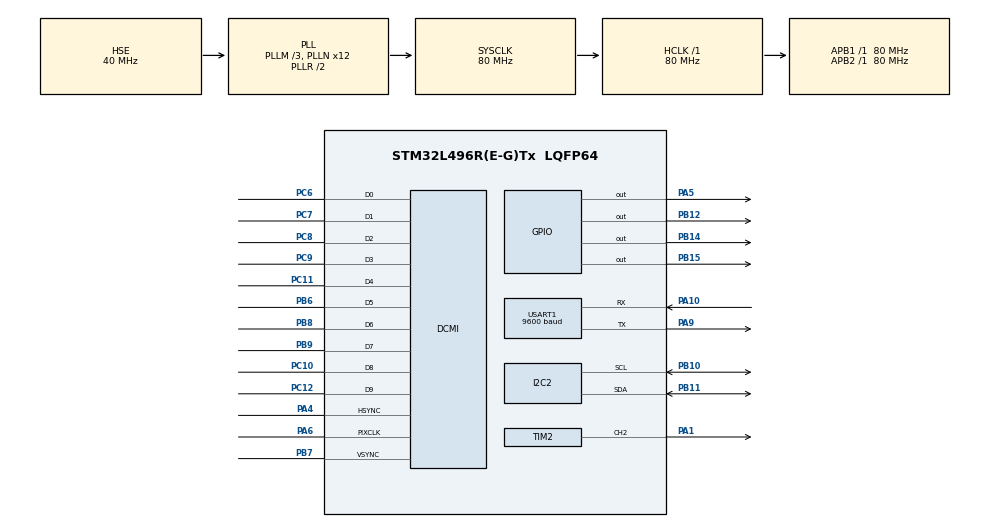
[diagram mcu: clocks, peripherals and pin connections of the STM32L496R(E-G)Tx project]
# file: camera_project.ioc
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DCMI.JPEGMode=DCMI_JPEG_ENABLE
I2C2.Timeout=0x000083D0
I2C2.Timing=0x10909CEC
Mcu.Family=STM32L4
Mcu.Name=STM32L496R(E-G)Tx
Mcu.Package=LQFP64
NVIC.PriorityGroup=NVIC_PRIORITYGROUP_4
NVIC.USART1_IRQn=true\:0\:0\:false\:false\:true\:true\:true
PA0.Mode=SYS_WakeUp0
PA0.Signal=SYS_WKUP1
PA1.Signal=S_TIM2_CH2
PA10.Mode=Asynchronous
PA10.Signal=USART1_RX
PA13\ (JTMS/SWDIO).Mode=Serial_Wire
PA13\ (JTMS/SWDIO).Signal=SYS_JTMS-SWDIO
PA14\ (JTCK/SWCLK).Mode=Serial_Wire
PA14\ (JTCK/SWCLK).Signal=SYS_JTCK-SWCLK
PA4.Mode=Slave_10_bits_External_Synchro
PA4.Signal=DCMI_HSYNC
PA5.GPIO_ModeDefaultOutputPP=GPIO_MODE_OUTPUT_OD
PA5.Signal=GPIO_Output
PA6.Mode=Slave_10_bits_External_Synchro
PA6.Signal=DCMI_PIXCLK
PA9.Mode=Asynchronous
PA9.Signal=USART1_TX
PB10.Mode=SMBus-two-wire-Interface
PB10.Signal=I2C2_SCL
PB11.Mode=SMBus-two-wire-Interface
PB11.Signal=I2C2_SDA
PB12.Signal=GPIO_Output
PB14.Signal=GPIO_Output
PB15.Signal=GPIO_Output
PB6.Mode=Slave_10_bits_External_Synchro
PB6.Signal=DCMI_D5
PB7.Mode=Slave_10_bits_External_Synchro
PB7.Signal=DCMI_VSYNC
PB8.Mode=Slave_10_bits_External_Synchro
PB8.Signal=DCMI_D6
PB9.Mode=Slave_10_bits_External_Synchro
PB9.Signal=DCMI_D7
PC10.Mode=Slave_10_bits_External_Synchro
PC10.Signal=DCMI_D8
PC11.Mode=Slave_10_bits_External_Synchro
PC11.Signal=DCMI_D4
PC12.Mode=Slave_10_bits_External_Synchro
PC12.Signal=DCMI_D9
PC6.Mode=Slave_10_bits_External_Synchro
PC6.Signal=DCMI_D0
PC7.Mode=Slave_10_bits_External_Synchro
PC7.Signal=DCMI_D1
PC8.Mode=Slave_10_bits_External_Synchro
PC8.Signal=DCMI_D2
PC9.Mode=Slave_10_bits_External_Synchro
PC9.Signal=DCMI_D3
PH0-OSC_IN\ (PH0).Mode=HSE-External-Oscillator
PH0-OSC_IN\ (PH0).Signal=RCC_OSC_IN
PH1-OSC_OUT\ (PH1).Mode=HSE-External-Oscillator
PH1-OSC_OUT\ (PH1).Signal=RCC_OSC_OUT
ProjectManager.HeapSize=0x200
ProjectManager.StackSize=0x400
ProjectManager.TargetToolchain=STM32CubeIDE
RCC.ADCFreq_Value=53333333.333333336
RCC.AHBFreq_Value=80000000
RCC.APB1Freq_Value=80000000
RCC.APB1TimFreq_Value=80000000
RCC.APB2Freq_Value=80000000
RCC.APB2TimFreq_Value=80000000
RCC.CortexFreq_Value=80000000
RCC.HCLKFreq_Value=80000000
RCC.HSE_VALUE=40000000
RCC.HSI48_VALUE=48000000
RCC.HSI_VALUE=16000000
RCC.I2C2CLockSelection=RCC_I2C2CLKSOURCE_SYSCLK
RCC.LSE_VALUE=32768
RCC.MSI_VALUE=4000000
RCC.PLLM=3
RCC.PLLN=12
RCC.PLLSourceVirtual=RCC_PLLSOURCE_HSE
RCC.SYSCLKFreq_VALUE=80000000
RCC.SYSCLKSource=RCC_SYSCLKSOURCE_PLLCLK
RCC.USART1CLockSelection=RCC_USART1CLKSOURCE_SYSCLK
RCC.USBFreq_Value=53333333.333333336
RCC.VCOOutputFreq_Value=160000000
SH.S_TIM2_CH2.0=TIM2_CH2,PWM Generation2 CH2
TIM2.Channel-PWM\ Generation2\ CH2=TIM_CHANNEL_2
USART1.BaudRate=9600
USART1.VirtualMode-Asynchronous=VM_ASYNC
VP_TIM2_VS_ClockSourceINT.Mode=Internal
board=custom

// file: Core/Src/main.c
/* USER CODE BEGIN Header */
/**
  ******************************************************************************
  * @file           : main.c
  * @brief          : Main program body
  ******************************************************************************
  * @attention
  *
  * <h2><center>&copy; Copyright (c) 2021 STMicroelectronics.
  * All rights reserved.</center></h2>
  *
  * This software component is licensed by ST under BSD 3-Clause license,
  * the "License"; You may not use this file except in compliance with the
  * License. You may obtain a copy of the License at:
  *                        opensource.org/licenses/BSD-3-Clause
  *
  ******************************************************************************
  */
/* USER CODE END Header */
#include "main.h"

/* USER CODE BEGIN Includes */

#include "SEGGER_RTT.h"

/* USER CODE END Includes */

DCMI_HandleTypeDef hdcmi;

SMBUS_HandleTypeDef hsmbus2;

TIM_HandleTypeDef htim2;

UART_HandleTypeDef huart1;

void SystemClock_Config(void);
static void MX_GPIO_Init(void);
static void MX_DCMI_Init(void);
static void MX_I2C2_SMBUS_Init(void);
static void MX_TIM2_Init(void);
static void MX_USART1_UART_Init(void);

/* USER CODE BEGIN 0 */
uint8_t rx_buffer[16];
void HAL_UART_RxCpltCallback(UART_HandleTypeDef *huart)
{
	HAL_UART_Receive_IT(&huart1, rx_buffer, 16);
	SEGGER_RTT_printf(0, "Data received: %s\r\n", rx_buffer);
}

/* USER CODE END 0 */

int main(void)
{
  /* USER CODE BEGIN 1 */

	  SEGGER_RTT_ConfigUpBuffer(0, NULL, NULL, 0, SEGGER_RTT_MODE_BLOCK_IF_FIFO_FULL);

	  SEGGER_RTT_WriteString(0, "Test write console\n");

  /* USER CODE END 1 */

  /* MCU Configuration--------------------------------------------------------*/

  /* Reset of all peripherals, Initializes the Flash interface and the Systick. */
  HAL_Init();

  /* Configure the system clock */
  SystemClock_Config();

  /* Initialize all configured peripherals */
  MX_GPIO_Init();
  MX_DCMI_Init();
  MX_I2C2_SMBUS_Init();
  MX_TIM2_Init();
  MX_USART1_UART_Init();
  /* USER CODE BEGIN 2 */
  HAL_GPIO_WritePin(GPIOA, GPIO_PIN_5, GPIO_PIN_RESET);
  HAL_GPIO_WritePin(GPIOB, GPIO_PIN_12, GPIO_PIN_SET);
  HAL_GPIO_WritePin(GPIOB, GPIO_PIN_14, GPIO_PIN_SET);
  HAL_GPIO_WritePin(GPIOB, GPIO_PIN_15, GPIO_PIN_SET);

  HAL_UART_Receive_IT(&huart1, rx_buffer, 16);

  HAL_GPIO_WritePin(GPIOA, GPIO_PIN_5, GPIO_PIN_SET);
  HAL_Delay(1000);
  HAL_GPIO_WritePin(GPIOA, GPIO_PIN_5, GPIO_PIN_RESET);
  /* USER CODE END 2 */

  /* Infinite loop */
  while (1)
  {

    /* USER CODE BEGIN 3 */
//	  HAL_GPIO_WritePin(GPIOA, GPIO_PIN_5, GPIO_PIN_SET);
//	  HAL_Delay(3000);
//	  HAL_GPIO_WritePin(GPIOA, GPIO_PIN_5, GPIO_PIN_RESET);

	if(HAL_UART_Transmit(&huart1, (uint8_t*)"AT\r\n", 5, 5000) != HAL_OK)
	{
		Error_Handler();
	}

	  HAL_GPIO_WritePin(GPIOB, GPIO_PIN_12, GPIO_PIN_SET);
	  HAL_Delay(1000);
	  HAL_GPIO_WritePin(GPIOB, GPIO_PIN_12, GPIO_PIN_RESET);
	  HAL_Delay(1000);
  }
  /* USER CODE END 3 */
}

void SystemClock_Config(void)
{
  RCC_OscInitTypeDef RCC_OscInitStruct = {0};
  RCC_ClkInitTypeDef RCC_ClkInitStruct = {0};
  RCC_PeriphCLKInitTypeDef PeriphClkInit = {0};

  /** Initializes the RCC Oscillators according to the specified parameters
  * in the RCC_OscInitTypeDef structure.
  */
  RCC_OscInitStruct.OscillatorType = RCC_OSCILLATORTYPE_HSE;
  RCC_OscInitStruct.HSEState = RCC_HSE_ON;
  RCC_OscInitStruct.PLL.PLLState = RCC_PLL_ON;
  RCC_OscInitStruct.PLL.PLLSource = RCC_PLLSOURCE_HSE;
  RCC_OscInitStruct.PLL.PLLM = 3;
  RCC_OscInitStruct.PLL.PLLN = 12;
  RCC_OscInitStruct.PLL.PLLP = RCC_PLLP_DIV2;
  RCC_OscInitStruct.PLL.PLLQ = RCC_PLLQ_DIV2;
  RCC_OscInitStruct.PLL.PLLR = RCC_PLLR_DIV2;
  if (HAL_RCC_OscConfig(&RCC_OscInitStruct) != HAL_OK)
  {
    Error_Handler();
  }
  /** Initializes the CPU, AHB and APB buses clocks
  */
  RCC_ClkInitStruct.ClockType = RCC_CLOCKTYPE_HCLK|RCC_CLOCKTYPE_SYSCLK
                              |RCC_CLOCKTYPE_PCLK1|RCC_CLOCKTYPE_PCLK2;
  RCC_ClkInitStruct.SYSCLKSource = RCC_SYSCLKSOURCE_PLLCLK;
  RCC_ClkInitStruct.AHBCLKDivider = RCC_SYSCLK_DIV1;
  RCC_ClkInitStruct.APB1CLKDivider = RCC_HCLK_DIV1;
  RCC_ClkInitStruct.APB2CLKDivider = RCC_HCLK_DIV1;

  if (HAL_RCC_ClockConfig(&RCC_ClkInitStruct, FLASH_LATENCY_4) != HAL_OK)
  {
    Error_Handler();
  }
  PeriphClkInit.PeriphClockSelection = RCC_PERIPHCLK_USART1|RCC_PERIPHCLK_I2C2;
  PeriphClkInit.Usart1ClockSelection = RCC_USART1CLKSOURCE_SYSCLK;
  PeriphClkInit.I2c2ClockSelection = RCC_I2C2CLKSOURCE_SYSCLK;
  if (HAL_RCCEx_PeriphCLKConfig(&PeriphClkInit) != HAL_OK)
  {
    Error_Handler();
  }
  /** Configure the main internal regulator output voltage
  */
  if (HAL_PWREx_ControlVoltageScaling(PWR_REGULATOR_VOLTAGE_SCALE1) != HAL_OK)
  {
    Error_Handler();
  }
}

static void MX_DCMI_Init(void)
{

  hdcmi.Instance = DCMI;
  hdcmi.Init.SynchroMode = DCMI_SYNCHRO_HARDWARE;
  hdcmi.Init.PCKPolarity = DCMI_PCKPOLARITY_FALLING;
  hdcmi.Init.VSPolarity = DCMI_VSPOLARITY_LOW;
  hdcmi.Init.HSPolarity = DCMI_HSPOLARITY_LOW;
  hdcmi.Init.CaptureRate = DCMI_CR_ALL_FRAME;
  hdcmi.Init.ExtendedDataMode = DCMI_EXTEND_DATA_10B;
  hdcmi.Init.JPEGMode = DCMI_JPEG_ENABLE;
  hdcmi.Init.ByteSelectMode = DCMI_BSM_ALL;
  hdcmi.Init.ByteSelectStart = DCMI_OEBS_ODD;
  hdcmi.Init.LineSelectMode = DCMI_LSM_ALL;
  hdcmi.Init.LineSelectStart = DCMI_OELS_ODD;
  if (HAL_DCMI_Init(&hdcmi) != HAL_OK)
  {
    Error_Handler();
  }

}

static void MX_I2C2_SMBUS_Init(void)
{

  hsmbus2.Instance = I2C2;
  hsmbus2.Init.Timing = 0x10909CEC;
  hsmbus2.Init.AnalogFilter = SMBUS_ANALOGFILTER_ENABLE;
  hsmbus2.Init.OwnAddress1 = 2;
  hsmbus2.Init.AddressingMode = SMBUS_ADDRESSINGMODE_7BIT;
  hsmbus2.Init.DualAddressMode = SMBUS_DUALADDRESS_DISABLE;
  hsmbus2.Init.OwnAddress2 = 0;
  hsmbus2.Init.OwnAddress2Masks = SMBUS_OA2_NOMASK;
  hsmbus2.Init.GeneralCallMode = SMBUS_GENERALCALL_DISABLE;
  hsmbus2.Init.NoStretchMode = SMBUS_NOSTRETCH_DISABLE;
  hsmbus2.Init.PacketErrorCheckMode = SMBUS_PEC_DISABLE;
  hsmbus2.Init.PeripheralMode = SMBUS_PERIPHERAL_MODE_SMBUS_SLAVE;
  hsmbus2.Init.SMBusTimeout = 0x000083D0;
  if (HAL_SMBUS_Init(&hsmbus2) != HAL_OK)
  {
    Error_Handler();
  }

}

static void MX_TIM2_Init(void)
{

  TIM_ClockConfigTypeDef sClockSourceConfig = {0};
  TIM_MasterConfigTypeDef sMasterConfig = {0};
  TIM_OC_InitTypeDef sConfigOC = {0};

  htim2.Instance = TIM2;
  htim2.Init.Prescaler = 0;
  htim2.Init.CounterMode = TIM_COUNTERMODE_UP;
  htim2.Init.Period = 4294967295;
  htim2.Init.ClockDivision = TIM_CLOCKDIVISION_DIV1;
  htim2.Init.AutoReloadPreload = TIM_AUTORELOAD_PRELOAD_DISABLE;
  if (HAL_TIM_Base_Init(&htim2) != HAL_OK)
  {
    Error_Handler();
  }
  sClockSourceConfig.ClockSource = TIM_CLOCKSOURCE_INTERNAL;
  if (HAL_TIM_ConfigClockSource(&htim2, &sClockSourceConfig) != HAL_OK)
  {
    Error_Handler();
  }
  if (HAL_TIM_PWM_Init(&htim2) != HAL_OK)
  {
    Error_Handler();
  }
  sMasterConfig.MasterOutputTrigger = TIM_TRGO_RESET;
  sMasterConfig.MasterSlaveMode = TIM_MASTERSLAVEMODE_DISABLE;
  if (HAL_TIMEx_MasterConfigSynchronization(&htim2, &sMasterConfig) != HAL_OK)
  {
    Error_Handler();
  }
  sConfigOC.OCMode = TIM_OCMODE_PWM1;
  sConfigOC.Pulse = 0;
  sConfigOC.OCPolarity = TIM_OCPOLARITY_HIGH;
  sConfigOC.OCFastMode = TIM_OCFAST_DISABLE;
  if (HAL_TIM_PWM_ConfigChannel(&htim2, &sConfigOC, TIM_CHANNEL_2) != HAL_OK)
  {
    Error_Handler();
  }
  HAL_TIM_MspPostInit(&htim2);

}

static void MX_USART1_UART_Init(void)
{

  huart1.Instance = USART1;
  huart1.Init.BaudRate = 9600;
  huart1.Init.WordLength = UART_WORDLENGTH_8B;
  huart1.Init.StopBits = UART_STOPBITS_1;
  huart1.Init.Parity = UART_PARITY_NONE;
  huart1.Init.Mode = UART_MODE_TX_RX;
  huart1.Init.HwFlowCtl = UART_HWCONTROL_NONE;
  huart1.Init.OverSampling = UART_OVERSAMPLING_16;
  huart1.Init.OneBitSampling = UART_ONE_BIT_SAMPLE_DISABLE;
  huart1.AdvancedInit.AdvFeatureInit = UART_ADVFEATURE_NO_INIT;
  if (HAL_UART_Init(&huart1) != HAL_OK)
  {
    Error_Handler();
  }

}

static void MX_GPIO_Init(void)
{
  GPIO_InitTypeDef GPIO_InitStruct = {0};

  /* GPIO Ports Clock Enable */
  __HAL_RCC_GPIOH_CLK_ENABLE();
  __HAL_RCC_GPIOA_CLK_ENABLE();
  __HAL_RCC_GPIOB_CLK_ENABLE();
  __HAL_RCC_GPIOC_CLK_ENABLE();

  /*Configure GPIO pin Output Level */
  HAL_GPIO_WritePin(GPIOA, GPIO_PIN_5, GPIO_PIN_RESET);

  /*Configure GPIO pin Output Level */
  HAL_GPIO_WritePin(GPIOB, GPIO_PIN_12|GPIO_PIN_14|GPIO_PIN_15, GPIO_PIN_RESET);

  /*Configure GPIO pin : PA5 */
  GPIO_InitStruct.Pin = GPIO_PIN_5;
  GPIO_InitStruct.Mode = GPIO_MODE_OUTPUT_OD;
  GPIO_InitStruct.Pull = GPIO_NOPULL;
  GPIO_InitStruct.Speed = GPIO_SPEED_FREQ_LOW;
  HAL_GPIO_Init(GPIOA, &GPIO_InitStruct);

  /*Configure GPIO pins : PB12 PB14 PB15 */
  GPIO_InitStruct.Pin = GPIO_PIN_12|GPIO_PIN_14|GPIO_PIN_15;
  GPIO_InitStruct.Mode = GPIO_MODE_OUTPUT_PP;
  GPIO_InitStruct.Pull = GPIO_NOPULL;
  GPIO_InitStruct.Speed = GPIO_SPEED_FREQ_LOW;
  HAL_GPIO_Init(GPIOB, &GPIO_InitStruct);

}

void Error_Handler(void)
{
  __disable_irq();
  while (1)
  {
  }
}

/************************ (C) COPYRIGHT STMicroelectronics *****END OF FILE****/
